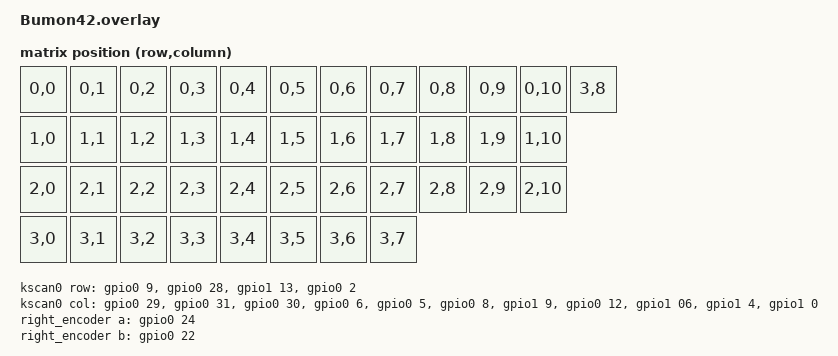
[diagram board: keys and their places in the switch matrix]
#include <dt-bindings/zmk/matrix_transform.h>
#include "Bumon42_layouts.dtsi"
// #include "Bumon42.dtsi"
// #include "Bumon42_layouts.dtsi"
/ {
	chosen {
		zmk,kscan = &kscan0;
        zmk,physical-layout = &physical_layout0;
        // zmk,matrix_transform = &default_transform;
	};
default_transform: keymap_transform_0 {
		compatible = "zmk,matrix-transform";
    columns = <11>;
    rows = <4>;
		map = <
    RC(0,0) RC(0,1) RC(0,2) RC(0,3) RC(0,4) RC(0,5) RC(0,6) RC(0,7) RC(0,8) RC(0,9) RC(0,10) RC(3,8)
    RC(1,0) RC(1,1) RC(1,2) RC(1,3) RC(1,4) RC(1,5) RC(1,6) RC(1,7) RC(1,8) RC(1,9) RC(1,10)
    RC(2,0) RC(2,1) RC(2,2) RC(2,3) RC(2,4) RC(2,5) RC(2,6) RC(2,7) RC(2,8) RC(2,9) RC(2,10)
    RC(3,0) RC(3,1) RC(3,2) RC(3,3) RC(3,4) RC(3,5) RC(3,6) RC(3,7)
		>;
	};
  kscan0: kscan_0 {
    compatible = "zmk,kscan-gpio-matrix";
    label = "KSCAN";


    diode-direction = "row2col";

    row-gpios
            = <&gpio0 9 GPIO_ACTIVE_HIGH>
            , <&gpio0 28 GPIO_ACTIVE_HIGH>
            , <&gpio1 13 GPIO_ACTIVE_HIGH>
            , <&gpio0 2 GPIO_ACTIVE_HIGH>
            ;
    col-gpios
              = <&gpio0 29 (GPIO_ACTIVE_HIGH | GPIO_PULL_DOWN)>
              , <&gpio0 31 (GPIO_ACTIVE_HIGH | GPIO_PULL_DOWN)>
              , <&gpio0 30 (GPIO_ACTIVE_HIGH | GPIO_PULL_DOWN)>
              , <&gpio0 6 (GPIO_ACTIVE_HIGH | GPIO_PULL_DOWN)>
              , <&gpio0 5 (GPIO_ACTIVE_HIGH | GPIO_PULL_DOWN)>
              , <&gpio0 8 (GPIO_ACTIVE_HIGH | GPIO_PULL_DOWN)>
              , <&gpio1 9 (GPIO_ACTIVE_HIGH | GPIO_PULL_DOWN)>
              , <&gpio0 12 (GPIO_ACTIVE_HIGH | GPIO_PULL_DOWN)>
              , <&gpio1 06 (GPIO_ACTIVE_HIGH | GPIO_PULL_DOWN)>
              , <&gpio1 4 (GPIO_ACTIVE_HIGH | GPIO_PULL_DOWN)>
              , <&gpio1 0 (GPIO_ACTIVE_HIGH | GPIO_PULL_DOWN)>
              ;
	};

    right_encoder: encoder_right {
        compatible = "alps,ec11";
        label = "RIGHT_ENCODER";
        a-gpios = <&gpio0 24 (GPIO_ACTIVE_HIGH | GPIO_PULL_UP)>;
        b-gpios = <&gpio0 22 (GPIO_ACTIVE_HIGH | GPIO_PULL_UP)>;
        resolution = <4>;
        status = "disabled";
    };

    sensors {
        compatible = "zmk,keymap-sensors";
        sensors = <&right_encoder>;
    };

};

&right_encoder {
    status = "okay";
};

&i2c0 {
	status = "okay";

	oled: ssd1306@3c {
		compatible = "solomon,ssd1306fb";
		reg = <0x3c>;
		label = "DISPLAY";
		width = <128>;
		height = <32>;
		segment-offset = <0>;
		page-offset = <0>;
		display-offset = <0>;
		multiplex-ratio = <31>;
		segment-remap;
		com-invdir;
		com-sequential;
		prechargep = <0x22>;
	};
};
